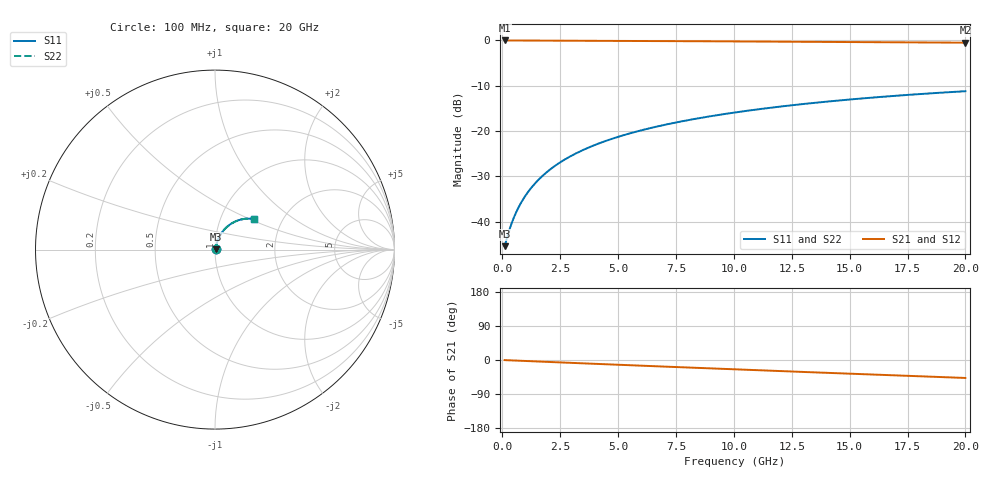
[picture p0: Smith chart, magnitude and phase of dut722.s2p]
! Touchstone file exported from HFSS 2026.1.0
!  File:  C:/ffzhzh/LocalFiles/Ansys_Project_Files/temp_train_TMRDL_722_1783154779_22436.aedt
!  Generated:  04:47:28 PM Jul  4, 2026
!  Design:  TMRDL
!  Project:  temp_train_TMRDL_722_1783154779_22436
! Variables:
!  h_bsmrdl = 2um
!  h_ox = 20um
!  h_rdl = 5um
!  h_sub = 80um
!  h_tmrdl = 5.2um
!  h_tsv = 80um
!  h_via = 3um
!  l_bsmrdl = 300um
!  l_sub = 1223.17um
!  l_tmrdl = 823.17um
!  m_sub = 200um
!  pitch = 21.72um
!  r_tsv = 6um
!  s_tmrdl = 10um
!  w_bsmrdl = 18um
!  w_sub = 500um
!  w_tmrdl = 11.46um
!  x_tsv_center1 = 828.9um
!  x_tsv_center2 = 1146.9um
!  x_tsv_center3 = 1981.53um
!  x_tsv_center4 = 2299.53um
!  x_tsv_center5 = 3134.16um
!  x_tsv_center6 = 3452.16um
# GHz S MA R 50.000000
! Terminal data exported
! Port[1] = TM_RDL1_1_T1
! Port[2] = TM_RDL1_1_T2
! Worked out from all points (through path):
!   200 points, 100 MHz to 20 GHz, reference 50 ohm
!   highest |S21| = -0.04 dB at 100 MHz (marker M1); lowest = -0.5 dB at 20 GHz (marker M2)
!   group delay of S21, straight-line fit = 6.56 ps
!   lowest |S11| = -45.4 dB at 100 MHz (marker M3), VSWR 1.01, Z = 50.5 + j0.21 ohm
!   |S11| at or under -10 dB: start of sweep to end of sweep
!   |S22| runs from -45.4 to -11.2 dB; largest |S21 - S12| = 2.1e-15
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0.1  0.005369 22.8  0.9951 -0.3  0.9951 -0.3  0.005369 22.8
! Gamma 0 0 0 0
! Port Impedance 50 0 50 0
0.3  0.008019 47.3  0.9946 -0.8  0.9946 -0.8  0.008019 47.3
0.4  0.009544 53.5  0.9944 -1.1  0.9944 -1.1  0.009544 53.5
0.6  0.01271 61.3  0.9941 -1.6  0.9941 -1.6  0.01271 61.3
0.7  0.01433 63.9  0.994 -1.8  0.994 -1.8  0.01433 63.9
0.9  0.01765 67.6  0.9938 -2.3  0.9938 -2.3  0.01765 67.5
1.1  0.02104 69.9  0.9936 -2.8  0.9936 -2.8  0.02104 69.9
1.3  0.02446 71.5  0.9933 -3.3  0.9933 -3.3  0.02446 71.5
1.7  0.03135 73.2  0.9928 -4.4  0.9928 -4.4  0.03135 73.2
2.2  0.03995 73.9  0.9919 -5.6  0.9919 -5.6  0.03995 73.9
2.8  0.05017 73.7  0.9908 -7.1  0.9908 -7.1  0.05018 73.7
3.5  0.06189 72.9  0.9892 -8.9  0.9892 -8.9  0.06189 72.9
4.2  0.07334 71.7  0.9875 -10.6  0.9875 -10.6  0.07334 71.7
5  0.08611 70.2  0.9854 -12.6  0.9854 -12.6  0.08611 70.2
5.9  0.1001 68.4  0.983 -14.8  0.983 -14.8  0.1001 68.3
6.8  0.1137 66.5  0.9804 -16.9  0.9804 -16.9  0.1137 66.5
8.3  0.1356 63.3  0.9761 -20.5  0.9761 -20.5  0.1356 63.3
10.1  0.1606 59.5  0.9708 -24.8  0.9708 -24.8  0.1606 59.4
11.7  0.1818 56.1  0.966 -28.5  0.966 -28.5  0.1818 56.0
13.4  0.2032 52.5  0.9607 -32.5  0.9607 -32.5  0.2032 52.4
16.7  0.2412 45.4  0.9505 -40.0  0.9505 -40.0  0.2413 45.4
20  0.2743 38.5  0.9405 -47.4  0.9405 -47.4  0.2744 38.4
